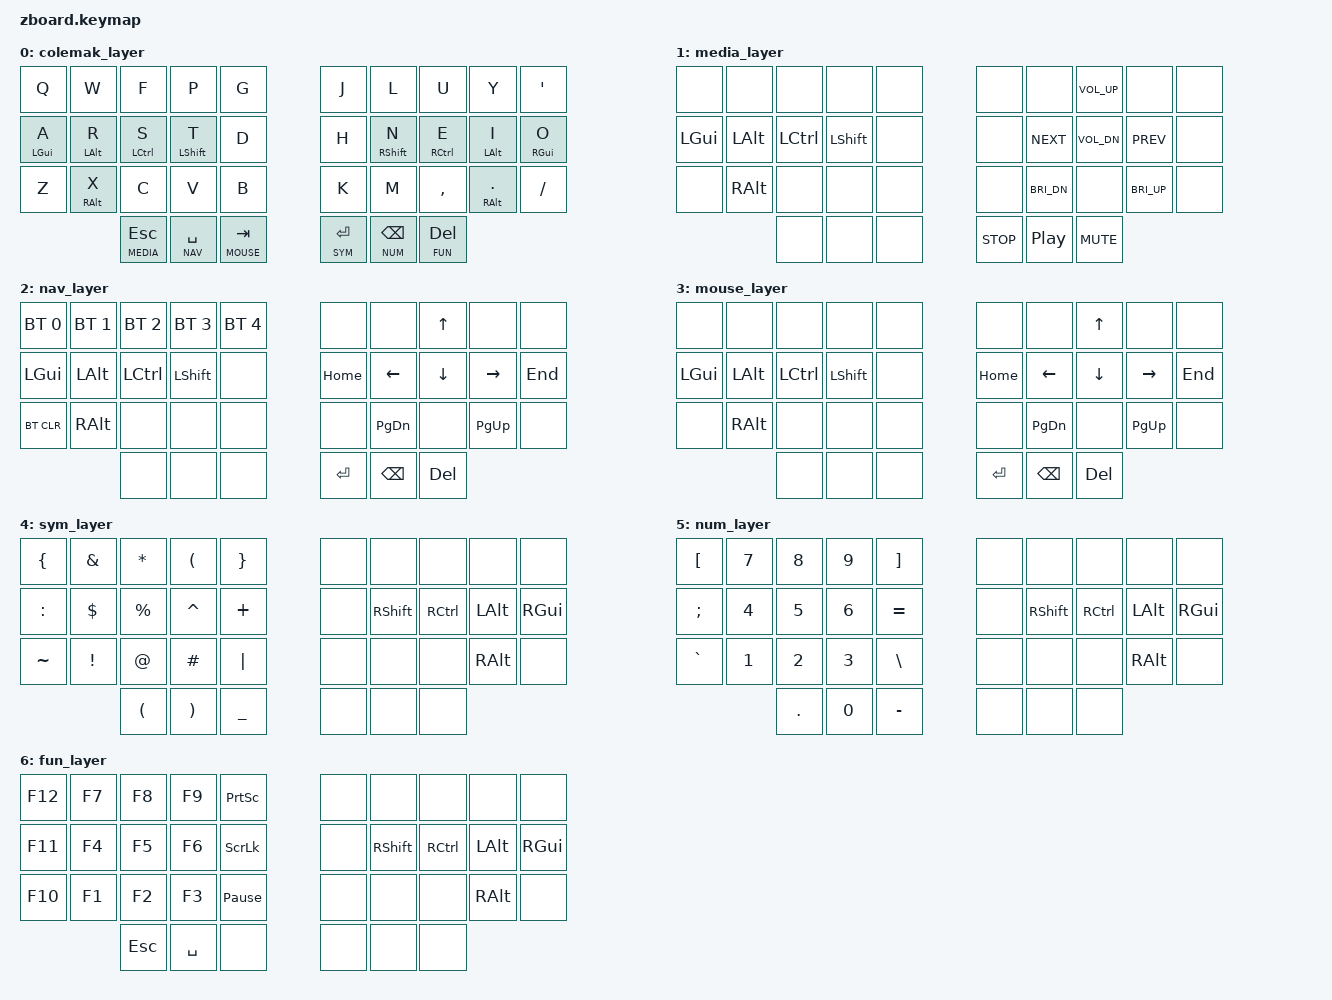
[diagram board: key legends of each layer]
/*
 * Copyright (c) 2020 The ZMK Contributors
 *
 * SPDX-License-Identifier: MIT
 */

#include <behaviors.dtsi>
#include <dt-bindings/zmk/keys.h>
#include <dt-bindings/zmk/bt.h>
#include <dt-bindings/zmk/mouse.h>
#include <dt-bindings/zmk/mouse_settings.h>

#include "includes/mouse_keys.dtsi"


&mt {
  flavor = "tap-preferred";
  tapping_term_ms = <200>;
};

/ { 
#define COLEMAK 0
#define MEDIA 1
#define NAV 2
#define MOUSE 3
#define SYM 4
#define NUM 5
#define FUN 6

combos {
    compatible = "zmk,combos";
    
    combo_caps {
        layers = <0>;
        timeout-ms = <50>;
        key-positions = <14 15>;
        bindings = <&caps_word>;
    };
    

    
};



        keymap {
                compatible = "zmk,keymap";
                
       		colemak_layer {
		bindings = <
		&kp Q      &kp W       &kp F          &kp P          &kp G              &kp J         &kp L         &kp U         &kp Y        &kp SQT 
		&mt LGUI A &mt LALT R  &mt LCTRL S    &mt LSHFT T    &kp D              &kp H         &mt RSHFT N   &mt RCTRL E   &mt LALT I   &mt RGUI O
		&kp Z      &mt RALT X  &kp C          &kp V          &kp B              &kp K         &kp M         &kp COMMA     &mt RALT DOT &kp FSLH
          				       &lt MEDIA ESC &lt NAV SPACE &lt MOUSE TAB        &lt SYM ENTER &lt NUM BSPC  &lt FUN DEL
		>;
		};

       		media_layer {
                        bindings = <
   		&none      &none       &none          &none          &none              &none         &none        &kp C_VOL_UP  &none        &none 
   		&kp LGUI   &kp LALT    &kp LCTRL      &kp LSHFT      &none              &none         &kp C_NEXT   &kp C_VOL_DN  &kp C_PREV   &none
   		&none      &kp RALT    &none          &none          &none              &none         &kp C_BRI_DN &none         &kp C_BRI_UP &none
                         		&none	      &none          &none              &kp C_STOP    &kp C_PP     &kp C_MUTE  
                        >;
                };

                nav_layer {
                        bindings = <
   		&bt BT_SEL 0 &bt BT_SEL 1 &bt BT_SEL 2   &bt BT_SEL 3   &bt BT_SEL 4       &none         &none        &kp UP        &none        &none   
   		&kp LGUI     &kp LALT     &kp LCTRL      &kp LSHFT      &none              &kp HOME      &kp LEFT     &kp DOWN      &kp RIGHT    &kp END
   		&bt BT_CLR   &kp RALT     &none          &none          &none              &none         &kp PG_DN    &none         &kp PG_UP    &none  
                                    &none        &none          &none              &kp ENTER     &kp BSPC     &kp DEL      
                        >;
                };

                mouse_layer {
                        bindings = <
   		&none      &none       &none          &none          &none              &none         &none        &kp UP        &none        &none  
   		&kp LGUI   &kp LALT    &kp LCTRL      &kp LSHFT      &none              &kp HOME      &kp LEFT     &kp DOWN      &kp RIGHT    &kp END
   		&none      &kp RALT    &none          &none          &none              &none         &kp PG_DN    &none         &kp PG_UP    &none  
                          	   &none          &none          &none              &kp ENTER     &kp BSPC     &kp DEL     
                        >;
                };

                sym_layer {
                        bindings = <
        &kp LBRC   &kp AMPS    &kp STAR       &kp LPAR       &kp RBRC           &none         &none        &none         &none        &none   
        &kp COLON  &kp DLLR    &kp PRCNT      &kp CARET      &kp PLUS           &none         &kp RSHFT    &kp RCTRL     &kp LALT     &kp RGUI
        &kp TILDE  &kp EXCL    &kp AT         &kp HASH       &kp PIPE           &none         &none        &none         &kp RALT     &none   
                               	    &kp LPAR  &kp RPAR       &kp UNDER          &none         &none        &none
                        >;
                };

                num_layer {
                        bindings = <
         &kp LBKT   &kp N7      &kp N8         &kp N9         &kp RBKT           &none         &none        &none         &none        &none   
         &kp SEMI   &kp N4      &kp N5         &kp N6         &kp EQUAL          &none         &kp RSHFT    &kp RCTRL     &kp LALT     &kp RGUI
         &kp GRAVE  &kp N1      &kp N2         &kp N3         &kp BSLH           &none         &none        &none         &kp RALT     &none   
                               	       &kp DOT        &kp N0  &kp MINUS            &none &none         &none
                        >;
                };

                fun_layer {
                        bindings = <
  	 	 &kp F12    &kp F7      &kp F8         &kp F9         &kp PSCRN        		&none         &none        &none         &none        &none    
         &kp F11    &kp F4      &kp F5         &kp F6         &kp SLCK           &none         &kp RSHFT    &kp RCTRL     &kp LALT     &kp RGUI
         &kp F10    &kp F1      &kp F2         &kp F3         &kp PAUSE_BREAK    &none         &none        &none         &kp RALT     &none   
                                			   &kp ESC        &kp SPACE  &none    &none        &none        &none
                        >;
                };
        
	};
};
